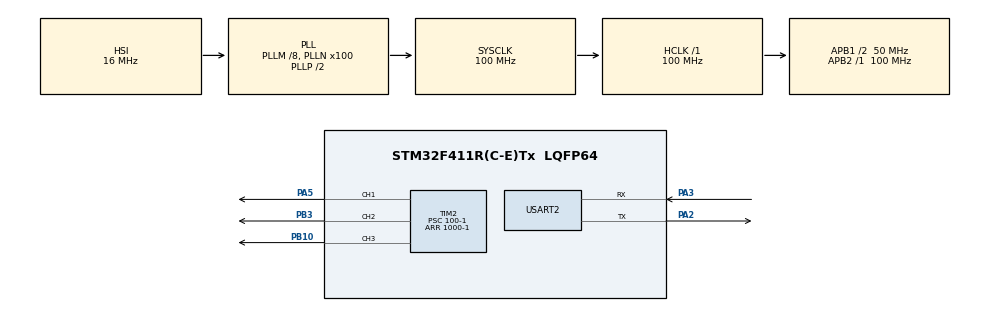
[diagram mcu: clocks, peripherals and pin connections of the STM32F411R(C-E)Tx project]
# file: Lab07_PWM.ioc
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Mcu.Family=STM32F4
Mcu.Name=STM32F411R(C-E)Tx
Mcu.Package=LQFP64
NVIC.PriorityGroup=NVIC_PRIORITYGROUP_0
PA2.Mode=Asynchronous
PA2.Signal=USART2_TX
PA3.Mode=Asynchronous
PA3.Signal=USART2_RX
PA5.GPIO_Speed=GPIO_SPEED_FREQ_VERY_HIGH
PA5.Signal=S_TIM2_CH1_ETR
PB10.GPIO_Speed=GPIO_SPEED_FREQ_VERY_HIGH
PB10.Signal=S_TIM2_CH3
PB3.GPIO_Speed=GPIO_SPEED_FREQ_VERY_HIGH
PB3.Signal=S_TIM2_CH2
ProjectManager.HeapSize=0x200
ProjectManager.StackSize=0x400
ProjectManager.TargetToolchain=MDK-ARM V5
RCC.48MHZClocksFreq_Value=50000000
RCC.AHBFreq_Value=100000000
RCC.APB1CLKDivider=RCC_HCLK_DIV2
RCC.APB1Freq_Value=50000000
RCC.APB1TimFreq_Value=100000000
RCC.APB2Freq_Value=100000000
RCC.APB2TimFreq_Value=100000000
RCC.CortexFreq_Value=100000000
RCC.FLatency-AdvancedSettings=FLASH_LATENCY_3
RCC.HCLKFreq_Value=100000000
RCC.HSE_VALUE=8000000
RCC.HSI_VALUE=16000000
RCC.LSE_VALUE=32768
RCC.PLLM=8
RCC.PLLN=100
RCC.SYSCLKFreq_VALUE=100000000
RCC.SYSCLKSource=RCC_SYSCLKSOURCE_PLLCLK
RCC.VCOOutputFreq_Value=200000000
SH.S_TIM2_CH1_ETR.0=TIM2_CH1,PWM Generation1 CH1
SH.S_TIM2_CH2.0=TIM2_CH2,PWM Generation2 CH2
SH.S_TIM2_CH3.0=TIM2_CH3,PWM Generation3 CH3
TIM2.Channel-PWM\ Generation1\ CH1=TIM_CHANNEL_1
TIM2.Channel-PWM\ Generation2\ CH2=TIM_CHANNEL_2
TIM2.Channel-PWM\ Generation3\ CH3=TIM_CHANNEL_3
TIM2.Period=1000-1
TIM2.Prescaler=100-1
TIM2.Pulse-PWM\ Generation1\ CH1=(1000-1)/6
TIM2.Pulse-PWM\ Generation2\ CH2=(1000-1)/6
TIM2.Pulse-PWM\ Generation3\ CH3=(1000-1)/6
USART2.VirtualMode=VM_ASYNC
VP_TIM2_VS_ClockSourceINT.Mode=Internal
board=NUCLEO-F411RE

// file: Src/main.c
/* USER CODE BEGIN Header */
/**
  ******************************************************************************
  * @file           : main.c
  * @brief          : Main program body
  ******************************************************************************
  ** This notice applies to any and all portions of this file
  * that are not between comment pairs USER CODE BEGIN and
  * USER CODE END. Other portions of this file, whether
  * inserted by the user or by software development tools
  * are owned by their respective copyright owners.
  *
  * COPYRIGHT(c) 2019 STMicroelectronics
  *
  * Redistribution and use in source and binary forms, with or without modification,
  * are permitted provided that the following conditions are met:
  *   1. Redistributions of source code must retain the above copyright notice,
  *      this list of conditions and the following disclaimer.
  *   2. Redistributions in binary form must reproduce the above copyright notice,
  *      this list of conditions and the following disclaimer in the documentation
  *      and/or other materials provided with the distribution.
  *   3. Neither the name of STMicroelectronics nor the names of its contributors
  *      may be used to endorse or promote products derived from this software
  *      without specific prior written permission.
  *
  * THIS SOFTWARE IS PROVIDED BY THE COPYRIGHT HOLDERS AND CONTRIBUTORS "AS IS"
  * AND ANY EXPRESS OR IMPLIED WARRANTIES, INCLUDING, BUT NOT LIMITED TO, THE
  * IMPLIED WARRANTIES OF MERCHANTABILITY AND FITNESS FOR A PARTICULAR PURPOSE ARE
  * DISCLAIMED. IN NO EVENT SHALL THE COPYRIGHT HOLDER OR CONTRIBUTORS BE LIABLE
  * FOR ANY DIRECT, INDIRECT, INCIDENTAL, SPECIAL, EXEMPLARY, OR CONSEQUENTIAL
  * DAMAGES (INCLUDING, BUT NOT LIMITED TO, PROCUREMENT OF SUBSTITUTE GOODS OR
  * SERVICES; LOSS OF USE, DATA, OR PROFITS; OR BUSINESS INTERRUPTION) HOWEVER
  * CAUSED AND ON ANY THEORY OF LIABILITY, WHETHER IN CONTRACT, STRICT LIABILITY,
  * OR TORT (INCLUDING NEGLIGENCE OR OTHERWISE) ARISING IN ANY WAY OUT OF THE USE
  * OF THIS SOFTWARE, EVEN IF ADVISED OF THE POSSIBILITY OF SUCH DAMAGE.
  *
  ******************************************************************************
  */
/* USER CODE END Header */

#include "main.h"
#include "tim.h"
#include "usart.h"
#include "gpio.h"

/* USER CODE BEGIN Includes */
#include "string.h"
/* USER CODE END Includes */

/* USER CODE BEGIN PV */
uint8_t pwm;
/* USER CODE END PV */

void SystemClock_Config(void);

int main(void)
{

  /* MCU Configuration--------------------------------------------------------*/

  /* Reset of all peripherals, Initializes the Flash interface and the Systick. */
  HAL_Init();

  /* Configure the system clock */
  SystemClock_Config();

  /* Initialize all configured peripherals */
  MX_GPIO_Init();
  MX_TIM2_Init();
  MX_USART2_UART_Init();

  /* Infinite loop */
  /* USER CODE BEGIN WHILE */
	/*
	float dutyCycle = 0.25;
	uint32_t adjust = 0;
	*/
	uint32_t r=0,g=0,b=0;
	char str[] = "Display Blinking LED PRESS (r, g, b) to adjust LED 6 steps.\r\n";
	HAL_UART_Transmit(&huart2, (uint8_t*) str, strlen(str),1000);
	while(__HAL_UART_GET_FLAG(&huart2, UART_FLAG_TC)==RESET);
  while (1)
  {
		//Receive
		char Receive[1];
		while(__HAL_UART_GET_FLAG(&huart2,UART_FLAG_RXNE)==RESET);
		HAL_UART_Receive(&huart2, (uint8_t*) &Receive, 1, 1000);
		//Transmit data of receive
		if(Receive[0] == 'r' || Receive[0] == 'R') {
			r++;
		} else if(Receive[0] == 'g' || Receive[0] == 'G') {
			g++;
		} else if(Receive[0] == 'b' || Receive[0] == 'B') {
			b++;
		} else continue;

		//Transmit data of receive
		char Transmit[] = "";
		sprintf(Transmit,"RGB(%d%%,%d%%,%d%%)\r\n", 20*(r % 6), 20*(g % 6), 20*(b % 6));
		while(__HAL_UART_GET_FLAG(&huart2,UART_FLAG_TC)==RESET);
		HAL_UART_Transmit(&huart2, (uint8_t*) &Transmit, strlen(Transmit),1000);

		htim2.Instance -> CCR3 = (1000-1) * (0.20 * (r % 6));
		htim2.Instance -> CCR2 = (1000-1) * (0.20 * (g % 6));
		htim2.Instance -> CCR1 = (1000-1) * (0.20 * (b % 6));
		HAL_TIM_PWM_Start(&htim2, TIM_CHANNEL_3);
		HAL_TIM_PWM_Start(&htim2, TIM_CHANNEL_2);
		HAL_TIM_PWM_Start(&htim2, TIM_CHANNEL_1);
		/*
		HAL_Delay(1000);
		HAL_TIM_PWM_Stop(&htim2, TIM_CHANNEL_3);
		HAL_TIM_PWM_Stop(&htim2, TIM_CHANNEL_2);
		HAL_TIM_PWM_Stop(&htim2, TIM_CHANNEL_1);
		*/
		/*
		htim2.Instance -> CCR3 = (1000-1) * (dutyCycle * (adjust % 5)); // 5 step 0%, 25%, 50%, 75%, 100%
		HAL_TIM_PWM_Start(&htim2, TIM_CHANNEL_3);
		HAL_Delay(1000);
		HAL_TIM_PWM_Stop(&htim2, TIM_CHANNEL_3);
		pwm = (GPIOB->IDR&0x400U)>>10;
		adjust++;
		*/
    /* USER CODE END WHILE */

  }
}

void SystemClock_Config(void)
{
  RCC_OscInitTypeDef RCC_OscInitStruct = {0};
  RCC_ClkInitTypeDef RCC_ClkInitStruct = {0};

  /**Configure the main internal regulator output voltage
  */
  __HAL_RCC_PWR_CLK_ENABLE();
  __HAL_PWR_VOLTAGESCALING_CONFIG(PWR_REGULATOR_VOLTAGE_SCALE1);
  /**Initializes the CPU, AHB and APB busses clocks
  */
  RCC_OscInitStruct.OscillatorType = RCC_OSCILLATORTYPE_HSI;
  RCC_OscInitStruct.HSIState = RCC_HSI_ON;
  RCC_OscInitStruct.HSICalibrationValue = RCC_HSICALIBRATION_DEFAULT;
  RCC_OscInitStruct.PLL.PLLState = RCC_PLL_ON;
  RCC_OscInitStruct.PLL.PLLSource = RCC_PLLSOURCE_HSI;
  RCC_OscInitStruct.PLL.PLLM = 8;
  RCC_OscInitStruct.PLL.PLLN = 100;
  RCC_OscInitStruct.PLL.PLLP = RCC_PLLP_DIV2;
  RCC_OscInitStruct.PLL.PLLQ = 4;
  if (HAL_RCC_OscConfig(&RCC_OscInitStruct) != HAL_OK)
  {
    Error_Handler();
  }
  /**Initializes the CPU, AHB and APB busses clocks
  */
  RCC_ClkInitStruct.ClockType = RCC_CLOCKTYPE_HCLK|RCC_CLOCKTYPE_SYSCLK
                              |RCC_CLOCKTYPE_PCLK1|RCC_CLOCKTYPE_PCLK2;
  RCC_ClkInitStruct.SYSCLKSource = RCC_SYSCLKSOURCE_PLLCLK;
  RCC_ClkInitStruct.AHBCLKDivider = RCC_SYSCLK_DIV1;
  RCC_ClkInitStruct.APB1CLKDivider = RCC_HCLK_DIV2;
  RCC_ClkInitStruct.APB2CLKDivider = RCC_HCLK_DIV1;

  if (HAL_RCC_ClockConfig(&RCC_ClkInitStruct, FLASH_LATENCY_3) != HAL_OK)
  {
    Error_Handler();
  }
}

void Error_Handler(void)
{
}

/************************ (C) COPYRIGHT STMicroelectronics *****END OF FILE****/
